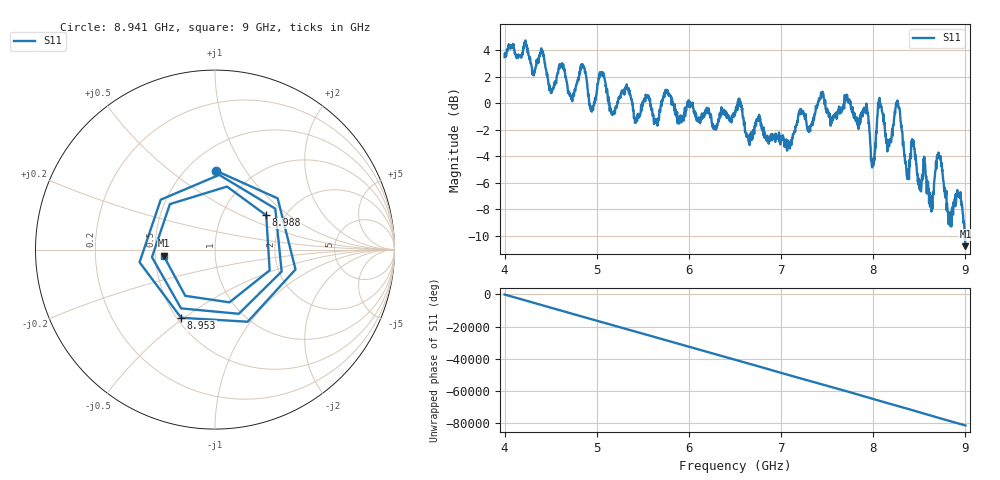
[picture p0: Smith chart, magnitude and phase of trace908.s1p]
! Created with skrf 1.8.0 (http://scikit-rf.org).
# Hz S RI R 50.0
!freq ReS11 ImS11
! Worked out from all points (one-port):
!   1601 points, 4 GHz to 9 GHz, reference 50 ohm
!   lowest |S11| = -10.8 dB at 9 GHz (marker M1), VSWR 1.81, Z = 27.7 - j2.03 ohm
!   |S11| at or under -10 dB: 8.992328 GHz to end of sweep
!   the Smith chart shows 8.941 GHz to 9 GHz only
!   S11 on the Smith chart (normalised r, x): 8.941 GHz: 0.69, +0.75; 8.953 GHz: 0.53, -0.49; 8.988 GHz: 1.61, +0.70; 9 GHz: 0.55, -0.04
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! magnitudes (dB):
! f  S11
! 4 GHz  3.5
! 4.509 GHz  0.8
! 4.625 GHz  3.0
! 4.728 GHz  0.4
! 4.853 GHz  2.7
! 4.944 GHz  -0.6
! 5.053 GHz  2.3
! 5.166 GHz  -0.9
! 5.25 GHz  0.4
! 5.875 GHz  -1.5
! 6.5 GHz  -0.8
! 7.125 GHz  -2.6
! 7.438 GHz  0.6
! 7.75 GHz  0.0
! 7.928 GHz  -0.7
! 7.994 GHz  -4.7
! 8.069 GHz  0.4
! 8.169 GHz  -2.8
! 8.266 GHz  -0.1
! 8.375 GHz  -5.6
! 8.438 GHz  -2.8
! 8.631 GHz  -8.2
! 8.716 GHz  -4.0
! 8.825 GHz  -9.0
! 8.941 GHz  -7.2
! 8.953 GHz  -7.4
! 8.988 GHz  -9.3
! 9 GHz  -10.8
